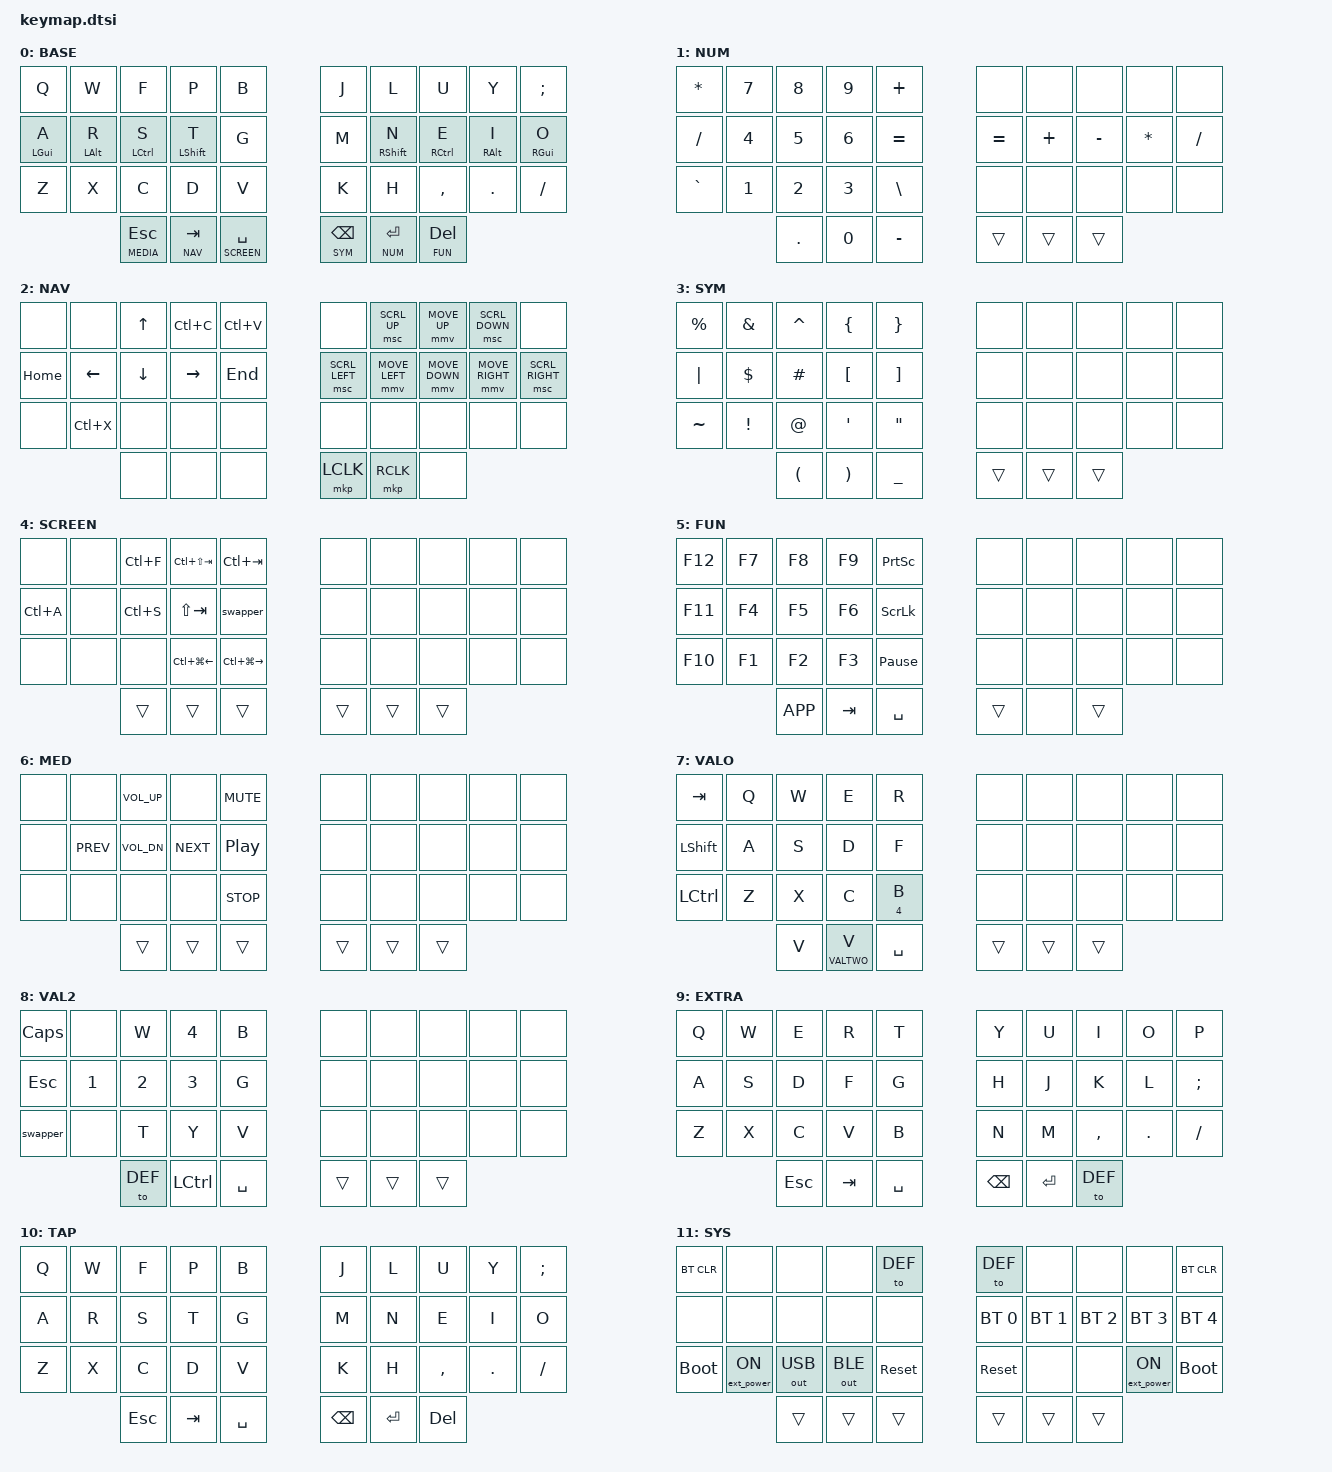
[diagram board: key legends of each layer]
/*
 * Copyright (c) 2020 The ZMK Contributors
 *
 * SPDX-License-Identifier: MIT
 */

#include <behaviors.dtsi>
#include <dt-bindings/zmk/keys.h>
#include <dt-bindings/zmk/bt.h>
#include <dt-bindings/zmk/outputs.h>
#include <dt-bindings/zmk/ext_power.h>

#include "mouse.dtsi"


#include <dt-bindings/zmk/bt.h>

// #define _BT_SEL_KEYS_ &bt BT_SEL 0 &bt BT_SEL 1 &bt BT_SEL 2 &bt BT_SEL 3


#define DEF 0
#define NUM 1
#define NAV 2
#define SYM 3
#define SCREEN 4
#define FUN 5
#define MEDIA 6
#define VAL 7
#define VALTWO 8
#define EXTRA 9
#define TAP 10
#define SYS 11



// Desktop and tab navigation shortcuts
#define D_LT   LC(LG(LEFT))
#define D_RT   LC(LG(RIGHT))
#define D_CL   LC(LG(F4))

#define TAB_RT LC(TAB)
#define TAB_LT LC(LS(TAB))

// Extra key bindings
#define SWP_POS 13

&lt { quick_tap_ms = <250>; };
&lt { quick_tap_ms = <250>; };

/* Homerow mods */

/ {
    behaviors {
        bhm: balanced_homerow_mods {
            compatible = "zmk,behavior-hold-tap";
            #binding-cells = <2>;
            tapping-term-ms = <200>;    // <---[[moderate duration]]
            quick-tap-ms = <0>;
            flavor = "balanced";
            bindings = <&kp>, <&kp>;
        };
        // Swapper for smart alt+tab
        swapper: swapper {
            compatible = "zmk,behavior-tri-state";
            #binding-cells = <0>;
            bindings = <&kt LALT>, <&kp TAB>, <&kt LALT>;
            ignored-key-positions = <SWP_POS>;
        };
    };
};
/ {
    conditional_layers {
        compatible = "zmk,conditional-layers";
        tri_layer {
            if-layers = <3 4>;
            then-layer = <11>;
        };
    };
};

/ {
    macros {
        numdot: numdot {
            label = "ZM_numdot";
            compatible = "zmk,behavior-macro";
            #binding-cells = <0>;
            wait-ms = <40>;
            tap-ms = <40>;
            bindings
                = <&macro_press   &kp LALT>    
                , <&macro_tap     &kp KP_N4 &kp KP_N6>    
                , <&macro_release &kp LALT>
                ;
        };
        grtsgn: grtsgn {
            label = "ZM_grtsgn";
            compatible = "zmk,behavior-macro";
            #binding-cells = <0>;
            wait-ms = <40>;
            tap-ms = <40>;
            bindings
                = <&macro_press   &kp LALT>    
                , <&macro_tap     &kp KP_N6 &kp KP_N2>    
                , <&macro_release &kp LALT>
                ;
        };
    };
};

#include "combos.dtsi"

/ {
        keymap {
                compatible = "zmk,keymap";

                default_layer {  
                label = "BASE"; //DEFAULT
                bindings = <
                &kp Q                 &kp W         &kp F             &kp P             &kp B                      &kp J            &kp L              &kp U           &kp Y           &kp SEMI        
                &bhm LGUI A           &bhm LALT R   &bhm LCTRL S      &bhm LSHFT T      &kp G                      &kp M            &bhm RSHFT N       &bhm RCTRL E    &bhm RALT I     &bhm RGUI O     
                &kp Z                 &kp X         &kp C             &kp D             &kp V                      &kp K            &kp H              &kp COMMA       &kp DOT         &kp FSLH        
                                                    &lt MEDIA ESC     &lt NAV TAB       &lt SCREEN SPACE            &lt SYM BSPC     &lt NUM RET        &lt FUN DEL
                        >;
                };
                num_layer {    
                label = "NUM"; //NUM
                
                bindings = <
                &kp ASTRK             &kp N7        &kp N8            &kp N9            &kp PLUS                   &none            &none              &none           &none           &none           
                &kp SLASH             &kp N4        &kp N5            &kp N6            &kp EQUAL                  &kp EQUAL        &kp PLUS           &kp MINUS       &kp ASTRK       &kp SLASH            
                &kp GRAVE             &kp N1        &kp N2            &kp N3            &kp BSLH                   &none            &none              &none           &none           &none           
                                                    &kp DOT           &kp N0            &kp MINUS                  &trans           &trans             &trans
                        >;
                };
                nav_layer {    
                label = "NAV"; //NAV
                bindings = <
                &none                     &none     &kp UP            &kp LC(C)         &kp LC(V)                  &none            &msc SCRL_UP       &mmv MOVE_UP    &msc SCRL_DOWN  &none                
                &kp HOME              &kp LEFT      &kp DOWN          &kp RIGHT         &kp END                    &msc SCRL_LEFT   &mmv MOVE_LEFT     &mmv MOVE_DOWN  &mmv MOVE_RIGHT &msc SCRL_RIGHT           
                &none                 &kp LC(X)     &none             &none             &none                      &none            &none              &none           &none           &none           
                                                    &none             &none             &none                      &mkp LCLK        &mkp RCLK          &none
                        >;  
                };
                sym_layer {   
                label = "SYM"; //SYM
                bindings = <
                &kp PRCNT             &kp AMPS      &kp CARET         &kp LBRC          &kp RBRC                   &none            &none              &none           &none           &none           
                &kp PIPE              &kp DLLR      &kp HASH          &kp LBKT          &kp RBKT                   &none            &none              &none           &none           &none           
                &kp TILDE             &kp EXCL      &kp AT            &kp SQT           &kp DOUBLE_QUOTES          &none            &none              &none           &none           &none           
                                                    &kp LPAR          &kp RPAR          &kp UNDER                  &trans           &trans             &trans 
                        >;
                };
                screen_layer {   
                label = "SCREEN"; //SCREEN
                bindings = <
                &none                   &none       &kp LC(F)         &kp TAB_LT         &kp TAB_RT                &none            &none              &none           &none           &none          
                &kp LC(A)               &none       &kp LC(S)         &kp LS(TAB)        &swapper                  &none            &none              &none           &none           &none         
                &none                   &none       &none             &kp D_LT           &kp D_RT                  &none            &none              &none           &none           &none          
                                                    &trans            &trans            &trans                     &trans           &trans             &trans
                        >;
                };
                fun_layer {  
                label = "FUN"; //FUN
                bindings = <
                &kp F12               &kp F7        &kp F8            &kp F9            &kp PSCRN                  &none            &none              &none           &none           &none           
                &kp F11               &kp F4        &kp F5            &kp F6            &kp SLCK                   &none            &none              &none           &none           &none           
                &kp F10               &kp F1        &kp F2            &kp F3            &kp PAUSE_BREAK            &none            &none              &none           &none           &none           
                                                    &kp K_APP         &kp TAB           &kp SPACE                  &trans           &none              &trans
                        >;
                };
                media_layer {  
                label = "MED"; //MEDIA
                bindings = <
                &none                 &none         &kp C_VOL_UP      &none             &kp C_MUTE                 &none            &none              &none           &none           &none           
                &none                 &kp C_PREV    &kp C_VOL_DN      &kp C_NEXT        &kp C_PP                   &none            &none              &none           &none           &none           
                &none                 &none         &none             &none             &kp C_STOP                 &none            &none              &none           &none           &none           
                                                    &trans            &trans            &trans                     &trans           &trans             &trans
                        >;
                };
                val_layer {  
                label = "VALO"; //VAL
                bindings = <
                &kp TAB               &kp Q         &kp W             &kp E             &kp R                      &none            &none              &none           &none           &none           
                &kp LSHFT             &kp A         &kp S             &kp D             &kp F                      &none            &none              &none           &none           &none           
                &kp LCTRL             &kp Z         &kp X             &kp C             &bhm N4 B                  &none            &none              &none           &none           &none          
                                                    &kp V             &lt VALTWO V      &kp SPACE                  &trans           &trans             &trans
                        >;
                };
                valtwo_layer {  
                label = "VAL2"; //VALTWO
                bindings = <
                &kp CAPSLOCK         &none          &kp W             &kp N4            &kp B                      &none            &none              &none           &none           &none           
                &kp ESC              &kp N1         &kp N2            &kp N3            &kp G                      &none            &none              &none           &none           &none           
                &swapper             &none          &kp T             &kp Y             &kp V                      &none            &none              &none           &none           &none           
                                                    &to DEF           &kp LCTRL         &kp SPACE                  &trans           &trans             &trans
                        >;
                };
                extra_layer {    
                label = "EXTRA"; //EXTRA
                bindings = <
                &kp Q               &kp W           &kp E             &kp R             &kp T                      &kp Y            &kp U              &kp I           &kp O           &kp P            
                &kp A               &kp S           &kp D             &kp F             &kp G                      &kp H            &kp J              &kp K           &kp L           &kp SEMI        
                &kp Z               &kp X           &kp C             &kp V             &kp B                      &kp N            &kp M              &kp COMMA       &kp DOT         &kp FSLH        
                                                    &kp ESC           &kp TAB           &kp SPACE                  &kp BSPC         &kp RET            &to DEF 
                        >; 
                };
                tap_layer {  
                label = "TAP"; //TAP
                bindings = <
                &kp Q                 &kp W         &kp F             &kp P             &kp B                      &kp J            &kp L              &kp U           &kp Y           &kp SEMI        
                &kp A                 &kp R         &kp S             &kp T             &kp G                      &kp M            &kp N              &kp E           &kp I           &kp O     
                &kp Z                 &kp X         &kp C             &kp D             &kp V                      &kp K            &kp H              &kp COMMA       &kp DOT         &kp FSLH        
                                                    &kp ESC           &kp TAB           &kp SPACE                  &kp BSPC         &kp RET            &kp DEL
                        >;
                };
                sys_layer {    
                label = "SYS"; //SYS
                bindings = <
                &bt BT_CLR          &none           &none             &none             &to DEF                   &to DEF           &none              &none           &none           &bt BT_CLR          
                &none               &none           &none             &none             &none                     &bt BT_SEL 0      &bt BT_SEL 1       &bt BT_SEL 2    &bt BT_SEL 3    &bt BT_SEL 4      
                &bootloader     &ext_power EP_ON    &out OUT_USB      &out OUT_BLE      &sys_reset                &sys_reset        &none              &none      &ext_power EP_ON     &bootloader            
                                                    &trans            &trans            &trans                    &trans            &trans             &trans
                        >; 
                };
        };
};
